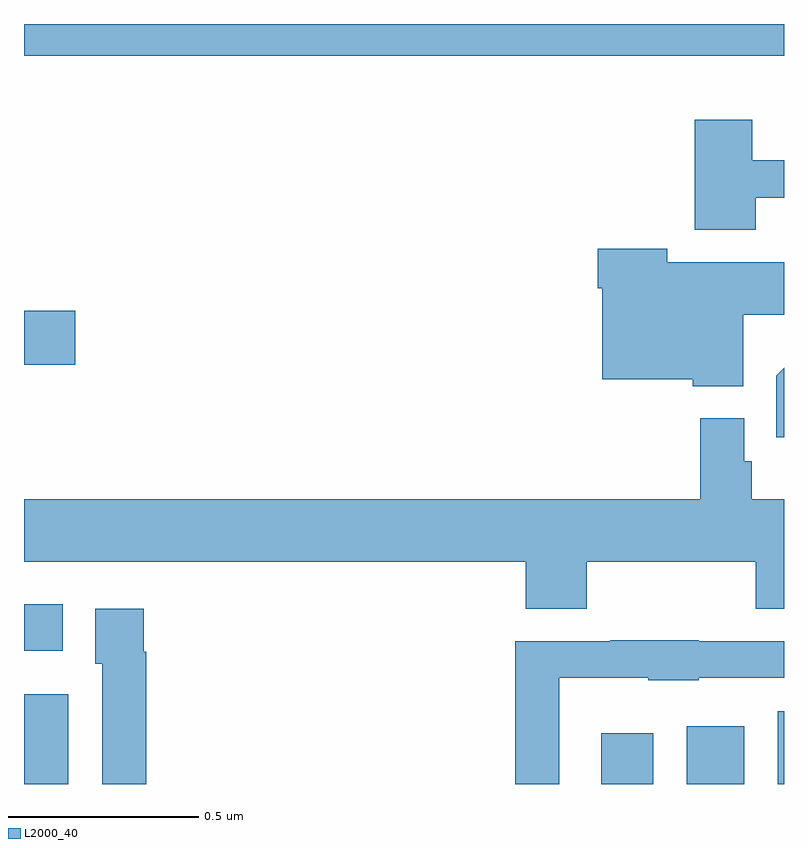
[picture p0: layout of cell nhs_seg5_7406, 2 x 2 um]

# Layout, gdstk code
import gdstk
lib = gdstk.Library(unit=1e-6, precision=1e-09)
def R(c, l, rs):  # rectangles x0, y0, x1, y1
    for r in rs: c.add(gdstk.rectangle(r[:2], r[2:], *l))
def P(c, l, *ps):  # polygons
    for p in ps: c.add(gdstk.Polygon(p, *l))
L2000_40 = (2000, 40)

nhs_seg5_7406 = lib.new_cell('nhs_seg5_7406')
R(nhs_seg5_7406, L2000_40, [(208,898.799,208.117,899.035), (209.519,898.799,209.656,898.933), (209.744,898.799,209.896,898.951), (209.984,898.799,210,898.99), (208,899.15,208.102,899.272), (208,899.902,208.135,900.044), (208,900.716,210,900.799)])
P(nhs_seg5_7406, L2000_40, [(209.925,900.342),(210,900.342),(210,900.441),(209.917,900.441),(209.917,900.547),(209.765,900.547),(209.765,900.257),(209.925,900.257)],
  [(209.893,900.034),(210,900.034),(210,900.172),(209.693,900.172),(209.693,900.208),(209.51,900.208),(209.51,900.104),(209.522,900.104),(209.522,899.864),(209.76,899.864),(209.76,899.846),(209.893,899.846)],
  [(210,899.894),(209.98,899.874),(209.98,899.712),(210,899.712)],
  [(209.481,899.384),(209.926,899.384),(209.926,899.26),(210,899.26),(210,899.548),(209.915,899.548),(209.915,899.649),(209.895,899.649),(209.895,899.761),(209.779,899.761),(209.779,899.548),(208,899.548),(208,899.384),(209.321,899.384),(209.321,899.26),(209.481,899.26)],
  [(208.322,899.147),(208.315,899.147),(208.315,899.26),(208.187,899.26),(208.187,899.115),(208.206,899.115),(208.206,898.799),(208.322,898.799)],
  [(209.409,899.078),(209.643,899.078),(209.643,899.072),(209.775,899.072),(209.775,899.079),(210,899.079),(210,899.175),(209.775,899.175),(209.775,899.177),(209.543,899.177),(209.543,899.175),(209.293,899.175),(209.293,898.799),(209.409,898.799)])

lib.write_gds('nhs_seg5_7406.gds')
